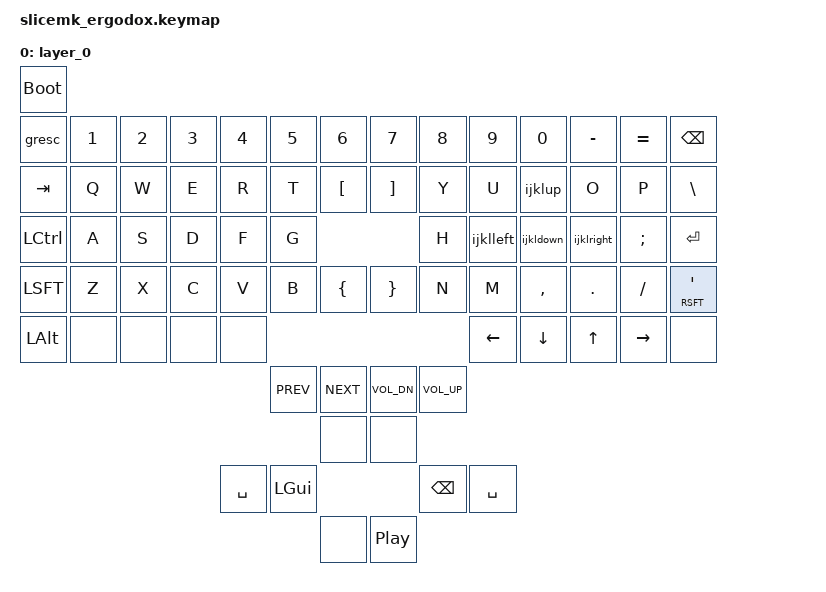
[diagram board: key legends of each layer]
#include <behaviors.dtsi>
#include <dt-bindings/zmk/bt.h>
#include <dt-bindings/zmk/keys.h>
#include <dt-bindings/zmk/outputs.h>

/ {
        behaviors {
                ijklup: iarrow_up {
                        compatible = "zmk,behavior-mod-morph";
                        label = "IARROW_UP";
                        #binding-cells = <0>;
                        bindings = <&kp I>, <&kp UP>;
                        mods = <(MOD_LCTL)>;
                };
                ijklleft: jarrow_left {
                        compatible = "zmk,behavior-mod-morph";
                        label = "JARROW_LEFT";
                        #binding-cells = <0>;
                        bindings = <&kp J>, <&kp LEFT>;
                        mods = <(MOD_LCTL)>;
                };
                ijkldown: karrow_down {
                        compatible = "zmk,behavior-mod-morph";
                        label = "KARROW_DOWN";
                        #binding-cells = <0>;
                        bindings = <&kp K>, <&kp DOWN>;
                        mods = <(MOD_LCTL)>;
                };
                ijklright: larrow_right {
                        compatible = "zmk,behavior-mod-morph";
                        label = "LARROW_RIGHT";
                        #binding-cells = <0>;
                        bindings = <&kp L>, <&kp RIGHT>;
                        mods = <(MOD_LCTL)>;
                };
                
        };
    
        keymap {
                compatible = "zmk,keymap";

                layer_0 {
                        bindings = <
    &bootloader
    &gresc     &kp N1     &kp N2     &kp N3     &kp N4     &kp N5     &kp N6     &kp N7     &kp N8     &kp N9     &kp N0     &kp MINUS  &kp EQUAL  &kp BSPC
    &kp TAB    &kp Q      &kp W      &kp E      &kp R      &kp T      &kp LBKT   &kp RBKT   &kp Y      &kp U      &ijklup    &kp O      &kp P      &kp BSLH
    &kp LCTL   &kp A      &kp S      &kp D      &kp F      &kp G                            &kp H      &ijklleft  &ijkldown  &ijklright &kp SCLN   &kp ENTER
    &kp LSFT   &kp Z      &kp X      &kp C      &kp V      &kp B      &kp LBRC   &kp RBRC   &kp N      &kp M      &kp COMMA  &kp DOT    &kp FSLH   &mt RSFT APOS
    &kp LALT   &none      &none      &none      &none                                                  &kp LEFT   &kp DOWN   &kp UP     &kp RIGHT  &none
                                                           &kp C_PREV &kp C_NEXT &kp C_VOL_DN   &kp C_VOL_UP
                                                                      &none      &none
                                                &kp SPACE   &kp LGUI                        &kp BSPC  &kp SPACE
                                                                      &none   &kp C_PP
                        >;
                };
        };
};
